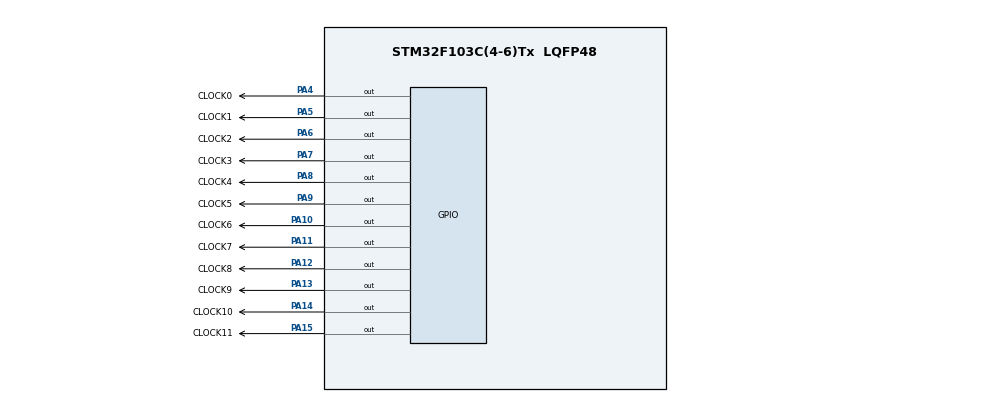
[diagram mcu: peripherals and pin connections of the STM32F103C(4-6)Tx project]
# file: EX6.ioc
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Mcu.Family=STM32F1
Mcu.Name=STM32F103C(4-6)Tx
Mcu.Package=LQFP48
NVIC.PriorityGroup=NVIC_PRIORITYGROUP_4
PA10.GPIO_Label=CLOCK6
PA10.Signal=GPIO_Output
PA11.GPIO_Label=CLOCK7
PA11.Signal=GPIO_Output
PA12.GPIO_Label=CLOCK8
PA12.Signal=GPIO_Output
PA13.GPIO_Label=CLOCK9
PA13.Signal=GPIO_Output
PA14.GPIO_Label=CLOCK10
PA14.Signal=GPIO_Output
PA15.GPIO_Label=CLOCK11
PA15.Signal=GPIO_Output
PA4.GPIO_Label=CLOCK0
PA4.Signal=GPIO_Output
PA5.GPIO_Label=CLOCK1
PA5.Signal=GPIO_Output
PA6.GPIO_Label=CLOCK2
PA6.Signal=GPIO_Output
PA7.GPIO_Label=CLOCK3
PA7.Signal=GPIO_Output
PA8.GPIO_Label=CLOCK4
PA8.Signal=GPIO_Output
PA9.GPIO_Label=CLOCK5
PA9.Signal=GPIO_Output
ProjectManager.HeapSize=0x200
ProjectManager.StackSize=0x400
ProjectManager.TargetToolchain=STM32CubeIDE
RCC.APB1Freq_Value=8000000
RCC.APB2Freq_Value=8000000
VP_SYS_VS_ND.Mode=No_Debug
board=custom

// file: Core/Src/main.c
/* USER CODE BEGIN Header */
/**
  ******************************************************************************
  * @file           : main.c
  * @brief          : Main program body
  ******************************************************************************
  * @attention
  *
  * <h2><center>&copy; Copyright (c) 2024 STMicroelectronics.
  * All rights reserved.</center></h2>
  *
  * This software component is licensed by ST under BSD 3-Clause license,
  * the "License"; You may not use this file except in compliance with the
  * License. You may obtain a copy of the License at:
  *                        opensource.org/licenses/BSD-3-Clause
  *
  ******************************************************************************
  */
/* USER CODE END Header */
#include "main.h"

void SystemClock_Config(void);
static void MX_GPIO_Init(void);

int main(void)
{

  /* MCU Configuration--------------------------------------------------------*/

  /* Reset of all peripherals, Initializes the Flash interface and the Systick. */
  HAL_Init();

  /* Configure the system clock */
  SystemClock_Config();

  /* Initialize all configured peripherals */
  MX_GPIO_Init();
  /* USER CODE BEGIN 2 */
  void checkLed(int num){
	  switch (num){
	  case 0:
		  HAL_GPIO_WritePin(CLOCK0_GPIO_Port, CLOCK0_Pin, RESET);
		  HAL_GPIO_WritePin(CLOCK1_GPIO_Port, CLOCK1_Pin, SET);
		  HAL_GPIO_WritePin(CLOCK2_GPIO_Port, CLOCK2_Pin, SET);
		  HAL_GPIO_WritePin(CLOCK3_GPIO_Port, CLOCK3_Pin, SET);
		  HAL_GPIO_WritePin(CLOCK4_GPIO_Port, CLOCK4_Pin, SET);
		  HAL_GPIO_WritePin(CLOCK5_GPIO_Port, CLOCK5_Pin, SET);
		  HAL_GPIO_WritePin(CLOCK6_GPIO_Port, CLOCK6_Pin, SET);
		  HAL_GPIO_WritePin(CLOCK7_GPIO_Port, CLOCK7_Pin, SET);
		  HAL_GPIO_WritePin(CLOCK8_GPIO_Port, CLOCK8_Pin, SET);
		  HAL_GPIO_WritePin(CLOCK9_GPIO_Port, CLOCK9_Pin, SET);
		  HAL_GPIO_WritePin(CLOCK10_GPIO_Port, CLOCK10_Pin, SET);
		  HAL_GPIO_WritePin(CLOCK11_GPIO_Port, CLOCK11_Pin, SET);
		  break;
	  case 1:
		  HAL_GPIO_WritePin(CLOCK0_GPIO_Port, CLOCK0_Pin, SET);
		  HAL_GPIO_WritePin(CLOCK1_GPIO_Port, CLOCK1_Pin, RESET);
		  HAL_GPIO_WritePin(CLOCK2_GPIO_Port, CLOCK2_Pin, SET);
		  HAL_GPIO_WritePin(CLOCK3_GPIO_Port, CLOCK3_Pin, SET);
		  HAL_GPIO_WritePin(CLOCK4_GPIO_Port, CLOCK4_Pin, SET);
		  HAL_GPIO_WritePin(CLOCK5_GPIO_Port, CLOCK5_Pin, SET);
		  HAL_GPIO_WritePin(CLOCK6_GPIO_Port, CLOCK6_Pin, SET);
		  HAL_GPIO_WritePin(CLOCK7_GPIO_Port, CLOCK7_Pin, SET);
		  HAL_GPIO_WritePin(CLOCK8_GPIO_Port, CLOCK8_Pin, SET);
		  HAL_GPIO_WritePin(CLOCK9_GPIO_Port, CLOCK9_Pin, SET);
		  HAL_GPIO_WritePin(CLOCK10_GPIO_Port, CLOCK10_Pin, SET);
		  HAL_GPIO_WritePin(CLOCK11_GPIO_Port, CLOCK11_Pin, SET);
		  break;
	  case 2:
		  HAL_GPIO_WritePin(CLOCK0_GPIO_Port, CLOCK0_Pin, SET);
		  HAL_GPIO_WritePin(CLOCK1_GPIO_Port, CLOCK1_Pin, SET);
		  HAL_GPIO_WritePin(CLOCK2_GPIO_Port, CLOCK2_Pin, RESET);
		  HAL_GPIO_WritePin(CLOCK3_GPIO_Port, CLOCK3_Pin, SET);
		  HAL_GPIO_WritePin(CLOCK4_GPIO_Port, CLOCK4_Pin, SET);
		  HAL_GPIO_WritePin(CLOCK5_GPIO_Port, CLOCK5_Pin, SET);
		  HAL_GPIO_WritePin(CLOCK6_GPIO_Port, CLOCK6_Pin, SET);
		  HAL_GPIO_WritePin(CLOCK7_GPIO_Port, CLOCK7_Pin, SET);
		  HAL_GPIO_WritePin(CLOCK8_GPIO_Port, CLOCK8_Pin, SET);
		  HAL_GPIO_WritePin(CLOCK9_GPIO_Port, CLOCK9_Pin, SET);
		  HAL_GPIO_WritePin(CLOCK10_GPIO_Port, CLOCK10_Pin, SET);
		  HAL_GPIO_WritePin(CLOCK11_GPIO_Port, CLOCK11_Pin, SET);
		  break;
	  case 3:
		  HAL_GPIO_WritePin(CLOCK0_GPIO_Port, CLOCK0_Pin, SET);
		  HAL_GPIO_WritePin(CLOCK1_GPIO_Port, CLOCK1_Pin, SET);
		  HAL_GPIO_WritePin(CLOCK2_GPIO_Port, CLOCK2_Pin, SET);
		  HAL_GPIO_WritePin(CLOCK3_GPIO_Port, CLOCK3_Pin, RESET);
		  HAL_GPIO_WritePin(CLOCK4_GPIO_Port, CLOCK4_Pin, SET);
		  HAL_GPIO_WritePin(CLOCK5_GPIO_Port, CLOCK5_Pin, SET);
		  HAL_GPIO_WritePin(CLOCK6_GPIO_Port, CLOCK6_Pin, SET);
		  HAL_GPIO_WritePin(CLOCK7_GPIO_Port, CLOCK7_Pin, SET);
		  HAL_GPIO_WritePin(CLOCK8_GPIO_Port, CLOCK8_Pin, SET);
		  HAL_GPIO_WritePin(CLOCK9_GPIO_Port, CLOCK9_Pin, SET);
		  HAL_GPIO_WritePin(CLOCK10_GPIO_Port, CLOCK10_Pin, SET);
		  HAL_GPIO_WritePin(CLOCK11_GPIO_Port, CLOCK11_Pin, SET);
		  break;
	  case 4:
		  HAL_GPIO_WritePin(CLOCK0_GPIO_Port, CLOCK0_Pin, SET);
		  HAL_GPIO_WritePin(CLOCK1_GPIO_Port, CLOCK1_Pin, SET);
		  HAL_GPIO_WritePin(CLOCK2_GPIO_Port, CLOCK2_Pin, SET);
		  HAL_GPIO_WritePin(CLOCK3_GPIO_Port, CLOCK3_Pin, SET);
		  HAL_GPIO_WritePin(CLOCK4_GPIO_Port, CLOCK4_Pin, RESET);
		  HAL_GPIO_WritePin(CLOCK5_GPIO_Port, CLOCK5_Pin, SET);
		  HAL_GPIO_WritePin(CLOCK6_GPIO_Port, CLOCK6_Pin, SET);
		  HAL_GPIO_WritePin(CLOCK7_GPIO_Port, CLOCK7_Pin, SET);
		  HAL_GPIO_WritePin(CLOCK8_GPIO_Port, CLOCK8_Pin, SET);
		  HAL_GPIO_WritePin(CLOCK9_GPIO_Port, CLOCK9_Pin, SET);
		  HAL_GPIO_WritePin(CLOCK10_GPIO_Port, CLOCK10_Pin, SET);
		  HAL_GPIO_WritePin(CLOCK11_GPIO_Port, CLOCK11_Pin, SET);
		  break;
	  case 5:
		  HAL_GPIO_WritePin(CLOCK0_GPIO_Port, CLOCK0_Pin, SET);
		  HAL_GPIO_WritePin(CLOCK1_GPIO_Port, CLOCK1_Pin, SET);
		  HAL_GPIO_WritePin(CLOCK2_GPIO_Port, CLOCK2_Pin, SET);
		  HAL_GPIO_WritePin(CLOCK3_GPIO_Port, CLOCK3_Pin, SET);
		  HAL_GPIO_WritePin(CLOCK4_GPIO_Port, CLOCK4_Pin, SET);
		  HAL_GPIO_WritePin(CLOCK5_GPIO_Port, CLOCK5_Pin, RESET);
		  HAL_GPIO_WritePin(CLOCK6_GPIO_Port, CLOCK6_Pin, SET);
		  HAL_GPIO_WritePin(CLOCK7_GPIO_Port, CLOCK7_Pin, SET);
		  HAL_GPIO_WritePin(CLOCK8_GPIO_Port, CLOCK8_Pin, SET);
		  HAL_GPIO_WritePin(CLOCK9_GPIO_Port, CLOCK9_Pin, SET);
		  HAL_GPIO_WritePin(CLOCK10_GPIO_Port, CLOCK10_Pin, SET);
		  HAL_GPIO_WritePin(CLOCK11_GPIO_Port, CLOCK11_Pin, SET);
		  break;
	  case 6:
		  HAL_GPIO_WritePin(CLOCK0_GPIO_Port, CLOCK0_Pin, SET);
		  HAL_GPIO_WritePin(CLOCK1_GPIO_Port, CLOCK1_Pin, SET);
		  HAL_GPIO_WritePin(CLOCK2_GPIO_Port, CLOCK2_Pin, SET);
		  HAL_GPIO_WritePin(CLOCK3_GPIO_Port, CLOCK3_Pin, SET);
		  HAL_GPIO_WritePin(CLOCK4_GPIO_Port, CLOCK4_Pin, SET);
		  HAL_GPIO_WritePin(CLOCK5_GPIO_Port, CLOCK5_Pin, SET);
		  HAL_GPIO_WritePin(CLOCK6_GPIO_Port, CLOCK6_Pin, RESET);
		  HAL_GPIO_WritePin(CLOCK7_GPIO_Port, CLOCK7_Pin, SET);
		  HAL_GPIO_WritePin(CLOCK8_GPIO_Port, CLOCK8_Pin, SET);
		  HAL_GPIO_WritePin(CLOCK9_GPIO_Port, CLOCK9_Pin, SET);
		  HAL_GPIO_WritePin(CLOCK10_GPIO_Port, CLOCK10_Pin, SET);
		  HAL_GPIO_WritePin(CLOCK11_GPIO_Port, CLOCK11_Pin, SET);
		  break;
	  case 7:
		  HAL_GPIO_WritePin(CLOCK0_GPIO_Port, CLOCK0_Pin, SET);
		  HAL_GPIO_WritePin(CLOCK1_GPIO_Port, CLOCK1_Pin, SET);
		  HAL_GPIO_WritePin(CLOCK2_GPIO_Port, CLOCK2_Pin, SET);
		  HAL_GPIO_WritePin(CLOCK3_GPIO_Port, CLOCK3_Pin, SET);
		  HAL_GPIO_WritePin(CLOCK4_GPIO_Port, CLOCK4_Pin, SET);
		  HAL_GPIO_WritePin(CLOCK5_GPIO_Port, CLOCK5_Pin, SET);
		  HAL_GPIO_WritePin(CLOCK6_GPIO_Port, CLOCK6_Pin, SET);
		  HAL_GPIO_WritePin(CLOCK7_GPIO_Port, CLOCK7_Pin, RESET);
		  HAL_GPIO_WritePin(CLOCK8_GPIO_Port, CLOCK8_Pin, SET);
		  HAL_GPIO_WritePin(CLOCK9_GPIO_Port, CLOCK9_Pin, SET);
		  HAL_GPIO_WritePin(CLOCK10_GPIO_Port, CLOCK10_Pin, SET);
		  HAL_GPIO_WritePin(CLOCK11_GPIO_Port, CLOCK11_Pin, SET);
		  break;
	  case 8:
		  HAL_GPIO_WritePin(CLOCK0_GPIO_Port, CLOCK0_Pin, SET);
		  HAL_GPIO_WritePin(CLOCK1_GPIO_Port, CLOCK1_Pin, SET);
		  HAL_GPIO_WritePin(CLOCK2_GPIO_Port, CLOCK2_Pin, SET);
		  HAL_GPIO_WritePin(CLOCK3_GPIO_Port, CLOCK3_Pin, SET);
		  HAL_GPIO_WritePin(CLOCK4_GPIO_Port, CLOCK4_Pin, SET);
		  HAL_GPIO_WritePin(CLOCK5_GPIO_Port, CLOCK5_Pin, SET);
		  HAL_GPIO_WritePin(CLOCK6_GPIO_Port, CLOCK6_Pin, SET);
		  HAL_GPIO_WritePin(CLOCK7_GPIO_Port, CLOCK7_Pin, SET);
		  HAL_GPIO_WritePin(CLOCK8_GPIO_Port, CLOCK8_Pin, RESET);
		  HAL_GPIO_WritePin(CLOCK9_GPIO_Port, CLOCK9_Pin, SET);
		  HAL_GPIO_WritePin(CLOCK10_GPIO_Port, CLOCK10_Pin, SET);
		  HAL_GPIO_WritePin(CLOCK11_GPIO_Port, CLOCK11_Pin, SET);
		  break;
	  case 9:
		  HAL_GPIO_WritePin(CLOCK0_GPIO_Port, CLOCK0_Pin, SET);
		  HAL_GPIO_WritePin(CLOCK1_GPIO_Port, CLOCK1_Pin, SET);
		  HAL_GPIO_WritePin(CLOCK2_GPIO_Port, CLOCK2_Pin, SET);
		  HAL_GPIO_WritePin(CLOCK3_GPIO_Port, CLOCK3_Pin, SET);
		  HAL_GPIO_WritePin(CLOCK4_GPIO_Port, CLOCK4_Pin, SET);
		  HAL_GPIO_WritePin(CLOCK5_GPIO_Port, CLOCK5_Pin, SET);
		  HAL_GPIO_WritePin(CLOCK6_GPIO_Port, CLOCK6_Pin, SET);
		  HAL_GPIO_WritePin(CLOCK7_GPIO_Port, CLOCK7_Pin, SET);
		  HAL_GPIO_WritePin(CLOCK8_GPIO_Port, CLOCK8_Pin, SET);
		  HAL_GPIO_WritePin(CLOCK9_GPIO_Port, CLOCK9_Pin, RESET);
		  HAL_GPIO_WritePin(CLOCK10_GPIO_Port, CLOCK10_Pin, SET);
		  HAL_GPIO_WritePin(CLOCK11_GPIO_Port, CLOCK11_Pin, SET);
		  break;
	  case 10:
		  HAL_GPIO_WritePin(CLOCK0_GPIO_Port, CLOCK0_Pin, SET);
		  HAL_GPIO_WritePin(CLOCK1_GPIO_Port, CLOCK1_Pin, SET);
		  HAL_GPIO_WritePin(CLOCK2_GPIO_Port, CLOCK2_Pin, SET);
		  HAL_GPIO_WritePin(CLOCK3_GPIO_Port, CLOCK3_Pin, SET);
		  HAL_GPIO_WritePin(CLOCK4_GPIO_Port, CLOCK4_Pin, SET);
		  HAL_GPIO_WritePin(CLOCK5_GPIO_Port, CLOCK5_Pin, SET);
		  HAL_GPIO_WritePin(CLOCK6_GPIO_Port, CLOCK6_Pin, SET);
		  HAL_GPIO_WritePin(CLOCK7_GPIO_Port, CLOCK7_Pin, SET);
		  HAL_GPIO_WritePin(CLOCK8_GPIO_Port, CLOCK8_Pin, SET);
		  HAL_GPIO_WritePin(CLOCK9_GPIO_Port, CLOCK9_Pin, SET);
		  HAL_GPIO_WritePin(CLOCK10_GPIO_Port, CLOCK10_Pin, RESET);
		  HAL_GPIO_WritePin(CLOCK11_GPIO_Port, CLOCK11_Pin, SET);
		  break;
	  case 11:
		  HAL_GPIO_WritePin(CLOCK0_GPIO_Port, CLOCK0_Pin, SET);
		  HAL_GPIO_WritePin(CLOCK1_GPIO_Port, CLOCK1_Pin, SET);
		  HAL_GPIO_WritePin(CLOCK2_GPIO_Port, CLOCK2_Pin, SET);
		  HAL_GPIO_WritePin(CLOCK3_GPIO_Port, CLOCK3_Pin, SET);
		  HAL_GPIO_WritePin(CLOCK4_GPIO_Port, CLOCK4_Pin, SET);
		  HAL_GPIO_WritePin(CLOCK5_GPIO_Port, CLOCK5_Pin, SET);
		  HAL_GPIO_WritePin(CLOCK6_GPIO_Port, CLOCK6_Pin, SET);
		  HAL_GPIO_WritePin(CLOCK7_GPIO_Port, CLOCK7_Pin, SET);
		  HAL_GPIO_WritePin(CLOCK8_GPIO_Port, CLOCK8_Pin, SET);
		  HAL_GPIO_WritePin(CLOCK9_GPIO_Port, CLOCK9_Pin, SET);
		  HAL_GPIO_WritePin(CLOCK10_GPIO_Port, CLOCK10_Pin, SET);
		  HAL_GPIO_WritePin(CLOCK11_GPIO_Port, CLOCK11_Pin, RESET);
		  break;
	  default:
		  break;
	  }
  }
  int counter = 0;
  /* USER CODE END 2 */

  /* Infinite loop */
  while (1)
  {

    /* USER CODE BEGIN 3 */
		if (counter == 12) counter = 0;
		checkLed(counter++);
		HAL_Delay(1000);
  }
  /* USER CODE END 3 */
}

void SystemClock_Config(void)
{
  RCC_OscInitTypeDef RCC_OscInitStruct = {0};
  RCC_ClkInitTypeDef RCC_ClkInitStruct = {0};

  /** Initializes the RCC Oscillators according to the specified parameters
  * in the RCC_OscInitTypeDef structure.
  */
  RCC_OscInitStruct.OscillatorType = RCC_OSCILLATORTYPE_HSI;
  RCC_OscInitStruct.HSIState = RCC_HSI_ON;
  RCC_OscInitStruct.HSICalibrationValue = RCC_HSICALIBRATION_DEFAULT;
  RCC_OscInitStruct.PLL.PLLState = RCC_PLL_NONE;
  if (HAL_RCC_OscConfig(&RCC_OscInitStruct) != HAL_OK)
  {
    Error_Handler();
  }
  /** Initializes the CPU, AHB and APB buses clocks
  */
  RCC_ClkInitStruct.ClockType = RCC_CLOCKTYPE_HCLK|RCC_CLOCKTYPE_SYSCLK
                              |RCC_CLOCKTYPE_PCLK1|RCC_CLOCKTYPE_PCLK2;
  RCC_ClkInitStruct.SYSCLKSource = RCC_SYSCLKSOURCE_HSI;
  RCC_ClkInitStruct.AHBCLKDivider = RCC_SYSCLK_DIV1;
  RCC_ClkInitStruct.APB1CLKDivider = RCC_HCLK_DIV1;
  RCC_ClkInitStruct.APB2CLKDivider = RCC_HCLK_DIV1;

  if (HAL_RCC_ClockConfig(&RCC_ClkInitStruct, FLASH_LATENCY_0) != HAL_OK)
  {
    Error_Handler();
  }
}

static void MX_GPIO_Init(void)
{
  GPIO_InitTypeDef GPIO_InitStruct = {0};

  /* GPIO Ports Clock Enable */
  __HAL_RCC_GPIOA_CLK_ENABLE();

  /*Configure GPIO pin Output Level */
  HAL_GPIO_WritePin(GPIOA, CLOCK0_Pin|CLOCK1_Pin|CLOCK2_Pin|CLOCK3_Pin
                          |CLOCK4_Pin|CLOCK5_Pin|CLOCK6_Pin|CLOCK7_Pin
                          |CLOCK8_Pin|CLOCK9_Pin|CLOCK10_Pin|CLOCK11_Pin, GPIO_PIN_RESET);

  /*Configure GPIO pins : CLOCK0_Pin CLOCK1_Pin CLOCK2_Pin CLOCK3_Pin
                           CLOCK4_Pin CLOCK5_Pin CLOCK6_Pin CLOCK7_Pin
                           CLOCK8_Pin CLOCK9_Pin CLOCK10_Pin CLOCK11_Pin */
  GPIO_InitStruct.Pin = CLOCK0_Pin|CLOCK1_Pin|CLOCK2_Pin|CLOCK3_Pin
                          |CLOCK4_Pin|CLOCK5_Pin|CLOCK6_Pin|CLOCK7_Pin
                          |CLOCK8_Pin|CLOCK9_Pin|CLOCK10_Pin|CLOCK11_Pin;
  GPIO_InitStruct.Mode = GPIO_MODE_OUTPUT_PP;
  GPIO_InitStruct.Pull = GPIO_NOPULL;
  GPIO_InitStruct.Speed = GPIO_SPEED_FREQ_LOW;
  HAL_GPIO_Init(GPIOA, &GPIO_InitStruct);

}

void Error_Handler(void)
{
  __disable_irq();
  while (1)
  {
  }
}

/************************ (C) COPYRIGHT STMicroelectronics *****END OF FILE****/
